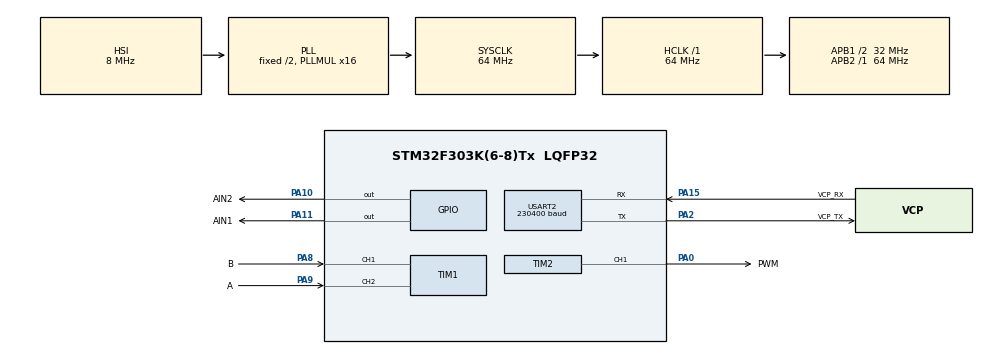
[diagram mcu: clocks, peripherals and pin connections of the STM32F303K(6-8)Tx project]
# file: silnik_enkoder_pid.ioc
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Mcu.Family=STM32F3
Mcu.Name=STM32F303K(6-8)Tx
Mcu.Package=LQFP32
NVIC.PriorityGroup=NVIC_PRIORITYGROUP_4
NVIC.TIM1_TRG_COM_TIM17_IRQn=true\:0\:0\:false\:false\:true\:true\:true\:true
NVIC.USART2_IRQn=true\:0\:0\:false\:false\:true\:true\:true\:true
PA0.GPIO_Label=PWM
PA0.Signal=S_TIM2_CH1_ETR
PA10.GPIO_Label=AIN2
PA10.Signal=GPIO_Output
PA11.GPIO_Label=AIN1
PA11.Signal=GPIO_Output
PA13.GPIO_Label=SWDIO
PA13.Mode=Serial_Wire
PA13.Signal=SYS_JTMS-SWDIO
PA14.GPIO_Label=SWCLK
PA14.Mode=Serial_Wire
PA14.Signal=SYS_JTCK-SWCLK
PA15.GPIO_Label=VCP_RX
PA15.Mode=Asynchronous
PA15.Signal=USART2_RX
PA2.GPIO_Label=VCP_TX
PA2.Mode=Asynchronous
PA2.Signal=USART2_TX
PA8.GPIO_Label=B
PA8.Signal=S_TIM1_CH1
PA9.GPIO_Label=A
PA9.Signal=S_TIM1_CH2
PF0\ /\ OSC_IN.GPIO_Label=MCO
PF0\ /\ OSC_IN.Mode=HSE-External-Clock-Source
PF0\ /\ OSC_IN.Signal=RCC_OSC_IN
ProjectManager.HeapSize=0x200
ProjectManager.StackSize=0x400
ProjectManager.TargetToolchain=STM32CubeIDE
RCC.AHBFreq_Value=64000000
RCC.APB1CLKDivider=RCC_HCLK_DIV2
RCC.APB1Freq_Value=32000000
RCC.APB1TimFreq_Value=64000000
RCC.APB2Freq_Value=64000000
RCC.APB2TimFreq_Value=64000000
RCC.CortexFreq_Value=64000000
RCC.HCLKFreq_Value=64000000
RCC.HSE_VALUE=8000000
RCC.HSI_VALUE=8000000
RCC.PLLMUL=RCC_PLL_MUL16
RCC.SYSCLKFreq_VALUE=64000000
RCC.SYSCLKSourceVirtual=RCC_SYSCLKSOURCE_PLLCLK
SH.S_TIM1_CH1.0=TIM1_CH1,Encoder_Interface
SH.S_TIM1_CH2.0=TIM1_CH2,Encoder_Interface
SH.S_TIM2_CH1_ETR.0=TIM2_CH1,PWM Generation1 CH1
TIM1.EncoderMode=TIM_ENCODERMODE_TI12
TIM1.IC1Filter=15
TIM17.Period=999
TIM17.Prescaler=639
TIM2.Channel-PWM\ Generation1\ CH1=TIM_CHANNEL_1
TIM2.Period=1023
TIM2.Prescaler=2
USART2.BaudRate=230400
USART2.VirtualMode-Asynchronous=VM_ASYNC
VP_TIM17_VS_ClockSourceINT.Mode=Enable_Timer
board=NUCLEO-F303K8

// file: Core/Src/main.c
/* USER CODE BEGIN Header */
/**
  ******************************************************************************
  * @file           : main.c
  * @brief          : Main program body
  ******************************************************************************
  * @attention
  *
  * Copyright (c) 2024 STMicroelectronics.
  * All rights reserved.
  *
  * This software is licensed under terms that can be found in the LICENSE file
  * in the root directory of this software component.
  * If no LICENSE file comes with this software, it is provided AS-IS.
  *
  ******************************************************************************
  */
/* USER CODE END Header */
#include "main.h"

/* USER CODE BEGIN Includes */
#include <stdio.h>
#include "pid.h"
#include <stdlib.h>
/* USER CODE END Includes */

/* USER CODE BEGIN PD */
#define STEP_RESPONSE 0 // 1 - step response, 0 PID control
#define KP 1.13
#define KI  423
#define KD  0
#define MAX_OUT 1020
#define ANIT_WINDUP 5
#define SETPOINT 90

/* USER CODE END PD */

TIM_HandleTypeDef htim1;
TIM_HandleTypeDef htim2;
TIM_HandleTypeDef htim17;

UART_HandleTypeDef huart2;

void SystemClock_Config(void);
static void MX_GPIO_Init(void);
static void MX_USART2_UART_Init(void);
static void MX_TIM1_Init(void);
static void MX_TIM2_Init(void);
static void MX_TIM17_Init(void);

/* USER CODE BEGIN 0 */
pid_t pid;
int16_t impulses = 0;
float rpm = 0;
int16_t current_PWM = 0;
uint8_t flag = 0;
int __io_putchar(int ch)
{
    HAL_UART_Transmit(&huart2, (uint8_t*)&ch, 1, HAL_MAX_DELAY);
    return 1;
}

void step_response(){
	 impulses = (int16_t)__HAL_TIM_GET_COUNTER(&htim1);
	__HAL_TIM_SET_COUNTER(&htim1, 0);
	 rpm = (impulses / 360.f) * 100.f * 60.f;
	 __HAL_TIM_SetCompare(&htim2, TIM_CHANNEL_1, 1020);
	 HAL_UART_Transmit_IT(&huart2, (uint8_t*)&rpm, sizeof(float));
}

void HAL_TIM_PeriodElapsedCallback(TIM_HandleTypeDef *htim){
	 flag = 1;
}
/* USER CODE END 0 */

int main(void)
{

  /* MCU Configuration--------------------------------------------------------*/

  /* Reset of all peripherals, Initializes the Flash interface and the Systick. */
  HAL_Init();

  /* Configure the system clock */
  SystemClock_Config();

  /* Initialize all configured peripherals */
  MX_GPIO_Init();
  MX_USART2_UART_Init();
  MX_TIM1_Init();
  MX_TIM2_Init();
  MX_TIM17_Init();
  /* USER CODE BEGIN 2 */
  HAL_GPIO_WritePin(AIN1_GPIO_Port, AIN1_Pin, 0);
  HAL_GPIO_WritePin(AIN2_GPIO_Port,AIN2_Pin	, 1);

  HAL_TIM_PWM_Start(&htim2, TIM_CHANNEL_1);
  HAL_TIM_Encoder_Start(&htim1, TIM_CHANNEL_ALL);
  __HAL_TIM_SetCompare(&htim2, TIM_CHANNEL_1, 0);
  HAL_Delay(1000);

  pid_init(&pid, KP, KI, KD, MAX_OUT, ANIT_WINDUP);

  HAL_TIM_Base_Start_IT(&htim17);
  /* USER CODE END 2 */

  /* Infinite loop */
  /* USER CODE BEGIN WHILE */
//  int16_t val = 0;
  while (1)
  {
	  if(flag){
      if(STEP_RESPONSE){

        step_response();

      }else{ // PID control

        impulses = (int16_t)__HAL_TIM_GET_COUNTER(&htim1);
        __HAL_TIM_SET_COUNTER(&htim1, 0);
        rpm = (impulses / 360.f) * 100.f * 60.f;
        current_PWM = pid_calculate(&pid, SETPOINT, rpm);
        if(current_PWM > 1020){
          current_PWM = 1020;
        }
        if(current_PWM < -1020){
          current_PWM = -1020;
        }
        if(current_PWM > 0){
          HAL_GPIO_WritePin(AIN1_GPIO_Port, AIN1_Pin, 0);
          HAL_GPIO_WritePin(AIN2_GPIO_Port,AIN2_Pin	, 1);
          __HAL_TIM_SetCompare(&htim2, TIM_CHANNEL_1, current_PWM);
        }else {
          HAL_GPIO_WritePin(AIN1_GPIO_Port, AIN1_Pin, 1);
          HAL_GPIO_WritePin(AIN2_GPIO_Port,AIN2_Pin	, 0);
          __HAL_TIM_SetCompare(&htim2, TIM_CHANNEL_1, -current_PWM);
        }
        HAL_UART_Transmit_IT(&huart2, (uint8_t*)&rpm, sizeof(float));
      }
	  }
      flag = 0;

    /* USER CODE END WHILE */

  }
}

void SystemClock_Config(void)
{
  RCC_OscInitTypeDef RCC_OscInitStruct = {0};
  RCC_ClkInitTypeDef RCC_ClkInitStruct = {0};
  RCC_PeriphCLKInitTypeDef PeriphClkInit = {0};

  /** Initializes the RCC Oscillators according to the specified parameters
  * in the RCC_OscInitTypeDef structure.
  */
  RCC_OscInitStruct.OscillatorType = RCC_OSCILLATORTYPE_HSI;
  RCC_OscInitStruct.HSIState = RCC_HSI_ON;
  RCC_OscInitStruct.HSICalibrationValue = RCC_HSICALIBRATION_DEFAULT;
  RCC_OscInitStruct.PLL.PLLState = RCC_PLL_ON;
  RCC_OscInitStruct.PLL.PLLSource = RCC_PLLSOURCE_HSI;
  RCC_OscInitStruct.PLL.PLLMUL = RCC_PLL_MUL16;
  if (HAL_RCC_OscConfig(&RCC_OscInitStruct) != HAL_OK)
  {
    Error_Handler();
  }

  /** Initializes the CPU, AHB and APB buses clocks
  */
  RCC_ClkInitStruct.ClockType = RCC_CLOCKTYPE_HCLK|RCC_CLOCKTYPE_SYSCLK
                              |RCC_CLOCKTYPE_PCLK1|RCC_CLOCKTYPE_PCLK2;
  RCC_ClkInitStruct.SYSCLKSource = RCC_SYSCLKSOURCE_PLLCLK;
  RCC_ClkInitStruct.AHBCLKDivider = RCC_SYSCLK_DIV1;
  RCC_ClkInitStruct.APB1CLKDivider = RCC_HCLK_DIV2;
  RCC_ClkInitStruct.APB2CLKDivider = RCC_HCLK_DIV1;

  if (HAL_RCC_ClockConfig(&RCC_ClkInitStruct, FLASH_LATENCY_2) != HAL_OK)
  {
    Error_Handler();
  }
  PeriphClkInit.PeriphClockSelection = RCC_PERIPHCLK_TIM1;
  PeriphClkInit.Tim1ClockSelection = RCC_TIM1CLK_HCLK;
  if (HAL_RCCEx_PeriphCLKConfig(&PeriphClkInit) != HAL_OK)
  {
    Error_Handler();
  }
}

static void MX_TIM1_Init(void)
{

  TIM_Encoder_InitTypeDef sConfig = {0};
  TIM_MasterConfigTypeDef sMasterConfig = {0};

  htim1.Instance = TIM1;
  htim1.Init.Prescaler = 0;
  htim1.Init.CounterMode = TIM_COUNTERMODE_UP;
  htim1.Init.Period = 65535;
  htim1.Init.ClockDivision = TIM_CLOCKDIVISION_DIV1;
  htim1.Init.RepetitionCounter = 0;
  htim1.Init.AutoReloadPreload = TIM_AUTORELOAD_PRELOAD_DISABLE;
  sConfig.EncoderMode = TIM_ENCODERMODE_TI12;
  sConfig.IC1Polarity = TIM_ICPOLARITY_RISING;
  sConfig.IC1Selection = TIM_ICSELECTION_DIRECTTI;
  sConfig.IC1Prescaler = TIM_ICPSC_DIV1;
  sConfig.IC1Filter = 15;
  sConfig.IC2Polarity = TIM_ICPOLARITY_RISING;
  sConfig.IC2Selection = TIM_ICSELECTION_DIRECTTI;
  sConfig.IC2Prescaler = TIM_ICPSC_DIV1;
  sConfig.IC2Filter = 0;
  if (HAL_TIM_Encoder_Init(&htim1, &sConfig) != HAL_OK)
  {
    Error_Handler();
  }
  sMasterConfig.MasterOutputTrigger = TIM_TRGO_RESET;
  sMasterConfig.MasterOutputTrigger2 = TIM_TRGO2_RESET;
  sMasterConfig.MasterSlaveMode = TIM_MASTERSLAVEMODE_DISABLE;
  if (HAL_TIMEx_MasterConfigSynchronization(&htim1, &sMasterConfig) != HAL_OK)
  {
    Error_Handler();
  }

}

static void MX_TIM2_Init(void)
{

  TIM_MasterConfigTypeDef sMasterConfig = {0};
  TIM_OC_InitTypeDef sConfigOC = {0};

  htim2.Instance = TIM2;
  htim2.Init.Prescaler = 2;
  htim2.Init.CounterMode = TIM_COUNTERMODE_UP;
  htim2.Init.Period = 1023;
  htim2.Init.ClockDivision = TIM_CLOCKDIVISION_DIV1;
  htim2.Init.AutoReloadPreload = TIM_AUTORELOAD_PRELOAD_DISABLE;
  if (HAL_TIM_PWM_Init(&htim2) != HAL_OK)
  {
    Error_Handler();
  }
  sMasterConfig.MasterOutputTrigger = TIM_TRGO_RESET;
  sMasterConfig.MasterSlaveMode = TIM_MASTERSLAVEMODE_DISABLE;
  if (HAL_TIMEx_MasterConfigSynchronization(&htim2, &sMasterConfig) != HAL_OK)
  {
    Error_Handler();
  }
  sConfigOC.OCMode = TIM_OCMODE_PWM1;
  sConfigOC.Pulse = 0;
  sConfigOC.OCPolarity = TIM_OCPOLARITY_HIGH;
  sConfigOC.OCFastMode = TIM_OCFAST_DISABLE;
  if (HAL_TIM_PWM_ConfigChannel(&htim2, &sConfigOC, TIM_CHANNEL_1) != HAL_OK)
  {
    Error_Handler();
  }
  HAL_TIM_MspPostInit(&htim2);

}

static void MX_TIM17_Init(void)
{

  htim17.Instance = TIM17;
  htim17.Init.Prescaler = 639;
  htim17.Init.CounterMode = TIM_COUNTERMODE_UP;
  htim17.Init.Period = 999;
  htim17.Init.ClockDivision = TIM_CLOCKDIVISION_DIV1;
  htim17.Init.RepetitionCounter = 0;
  htim17.Init.AutoReloadPreload = TIM_AUTORELOAD_PRELOAD_DISABLE;
  if (HAL_TIM_Base_Init(&htim17) != HAL_OK)
  {
    Error_Handler();
  }

}

static void MX_USART2_UART_Init(void)
{

  huart2.Instance = USART2;
  huart2.Init.BaudRate = 230400;
  huart2.Init.WordLength = UART_WORDLENGTH_8B;
  huart2.Init.StopBits = UART_STOPBITS_1;
  huart2.Init.Parity = UART_PARITY_NONE;
  huart2.Init.Mode = UART_MODE_TX_RX;
  huart2.Init.HwFlowCtl = UART_HWCONTROL_NONE;
  huart2.Init.OverSampling = UART_OVERSAMPLING_16;
  huart2.Init.OneBitSampling = UART_ONE_BIT_SAMPLE_DISABLE;
  huart2.AdvancedInit.AdvFeatureInit = UART_ADVFEATURE_NO_INIT;
  if (HAL_UART_Init(&huart2) != HAL_OK)
  {
    Error_Handler();
  }

}

static void MX_GPIO_Init(void)
{
  GPIO_InitTypeDef GPIO_InitStruct = {0};

  /* GPIO Ports Clock Enable */
  __HAL_RCC_GPIOF_CLK_ENABLE();
  __HAL_RCC_GPIOA_CLK_ENABLE();

  /*Configure GPIO pin Output Level */
  HAL_GPIO_WritePin(GPIOA, AIN2_Pin|AIN1_Pin, GPIO_PIN_RESET);

  /*Configure GPIO pins : AIN2_Pin AIN1_Pin */
  GPIO_InitStruct.Pin = AIN2_Pin|AIN1_Pin;
  GPIO_InitStruct.Mode = GPIO_MODE_OUTPUT_PP;
  GPIO_InitStruct.Pull = GPIO_NOPULL;
  GPIO_InitStruct.Speed = GPIO_SPEED_FREQ_LOW;
  HAL_GPIO_Init(GPIOA, &GPIO_InitStruct);

}

void Error_Handler(void)
{
  __disable_irq();
  while (1)
  {
  }
}
